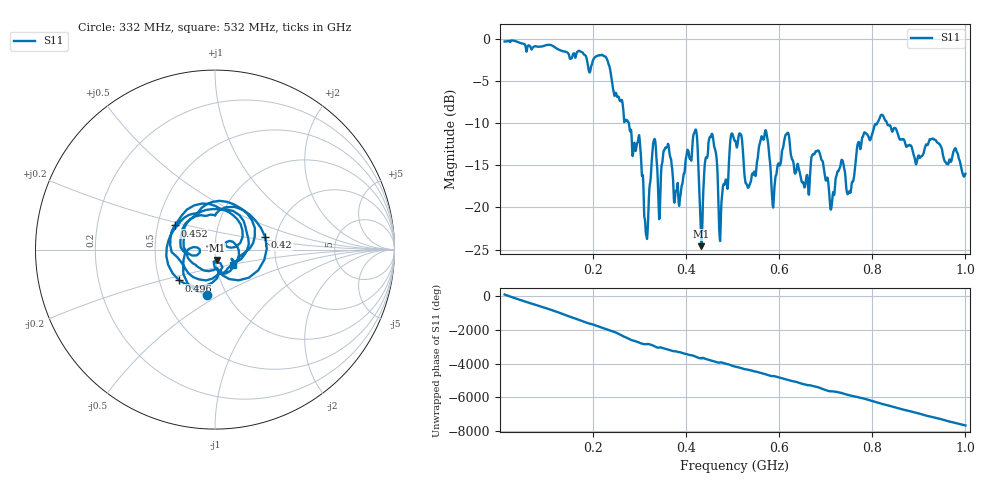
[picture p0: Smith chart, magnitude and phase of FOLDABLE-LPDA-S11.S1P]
!Agilent Technologies,E5071C,MY46106131,A.11.36
!Date: Thu Jul 10 17:56:40 2025
!Data & Calibration Information:
!Freq	S11:SOLT2(ON)
!PortZ  Port1:50+j0
!Above PortZ is port z conversion or system Z0 setting when saving the data.
!When reading, reference impedance value at option line is always used.
# Hz S dB R 50
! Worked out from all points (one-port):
!   991 points, 10 MHz to 1 GHz, reference 50 ohm
!   lowest |S11| = -24.6 dB at 433 MHz (marker M1), VSWR 1.13, Z = 50.7 - j5.91 ohm
!   |S11| at or under -10 dB: 276.8 MHz to 810.7 MHz (533.9 MHz wide, 98.2 % of centre); 831.3 MHz to end of sweep
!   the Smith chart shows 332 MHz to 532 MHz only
!   S11 on the Smith chart (normalised r, x): 332 MHz: 0.81, -0.43; 420 MHz: 1.75, +0.27; 452 MHz: 0.61, +0.18; 496 MHz: 0.63, -0.23; 532 MHz: 1.20, -0.21
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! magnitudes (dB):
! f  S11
! 10 MHz  -0.3
! 134 MHz  -1.5
! 225 MHz  -2.1
! 258 MHz  -7.4
! 299 MHz  -11.4
! 314 MHz  -23.3
! 332 MHz  -11.9
! 342 MHz  -21.4
! 359 MHz  -12.9
! 382 MHz  -17.1
! 420 MHz  -10.8
! 433 MHz  -24.6
! 452 MHz  -11.6
! 463 MHz  -13.3
! 473 MHz  -24.0
! 496 MHz  -11.6
! 505 MHz  -12.1
! 517 MHz  -11.3
! 532 MHz  -17.6
! 569 MHz  -11.2
! 587 MHz  -20.0
! 615 MHz  -11.4
! 629 MHz  -14.4
! 753 MHz  -18.3
! 769 MHz  -12.4
! 819 MHz  -9.0
! 877 MHz  -12.7
! 1 GHz  -16.0
